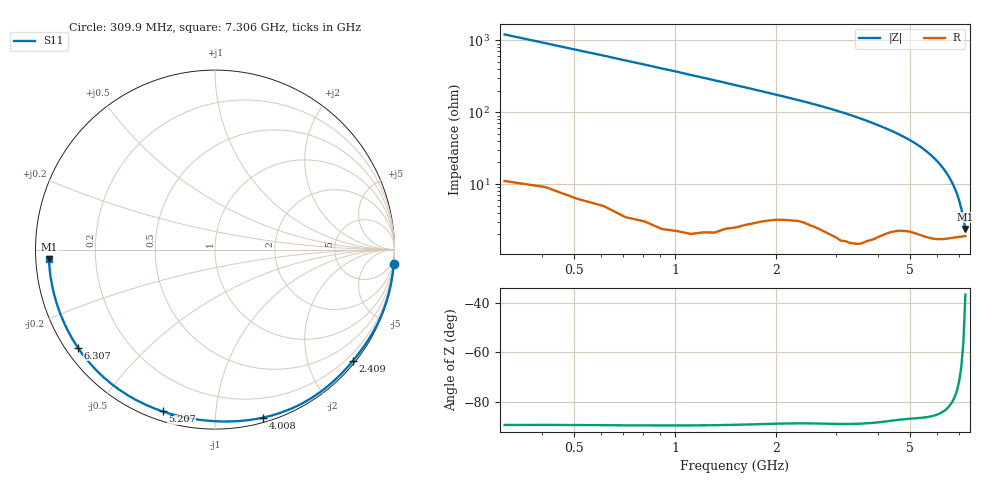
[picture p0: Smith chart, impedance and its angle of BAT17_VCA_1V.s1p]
! Infineon Technologies  Discrete & RF Semiconductors
! BAT17
! VCA = 1 V
! One-Port S-Parameters
# Hz  S  MA  R  50
!f  S11
!Hz  Mag  Ang
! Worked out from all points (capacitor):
!   71 points, 309.9 MHz to 7.306 GHz, reference 50 ohm
!   read as one part to ground: C = 426 fF near 309.9 MHz
!   lowest |Z| = 2.37 ohm at 7.306 GHz (marker M1)
!   S11 on the Smith chart (normalised r, x): 309.9 MHz: 0, -24; 2.409 GHz: 0.06, -2.82; 4.008 GHz: 0.04, -1.32; 5.207 GHz: 0.04, -0.73; 6.307 GHz: 0.03, -0.32; 7.306 GHz: 0.04, -0.03
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3.0985e8  0.9992 -4.8
8.096e8  0.9986 -12.4
1.2094e9  0.9977 -18.8
1.6092e9  0.9948 -25.3
2.10895e9  0.9893 -33.8
2.4088e9  0.987 -39.1
2.70865e9  0.9868 -44.6
3.0085e9  0.9868 -50.6
3.2084e9  0.9864 -54.8
3.4083e9  0.9854 -59.4
3.6082e9  0.9831 -64.0
3.8081e9  0.9788 -69.0
4.008e9  0.9737 -74.1
4.30785e9  0.9646 -82.0
4.50775e9  0.9587 -87.4
4.70765e9  0.9537 -93.1
5.0075e9  0.9489 -101.8
5.2074e9  0.9475 -108.0
5.4073e9  0.9466 -114.3
5.6072e9  0.9459 -120.9
5.90705e9  0.944 -131.0
6.10695e9  0.9417 -137.7
6.30685e9  0.9392 -144.5
6.50675e9  0.9361 -151.2
6.70665e9  0.9332 -157.7
6.90655e9  0.9308 -164.1
7.10645e9  0.9288 -170.5
7.30635e9  0.9267 -176.7
